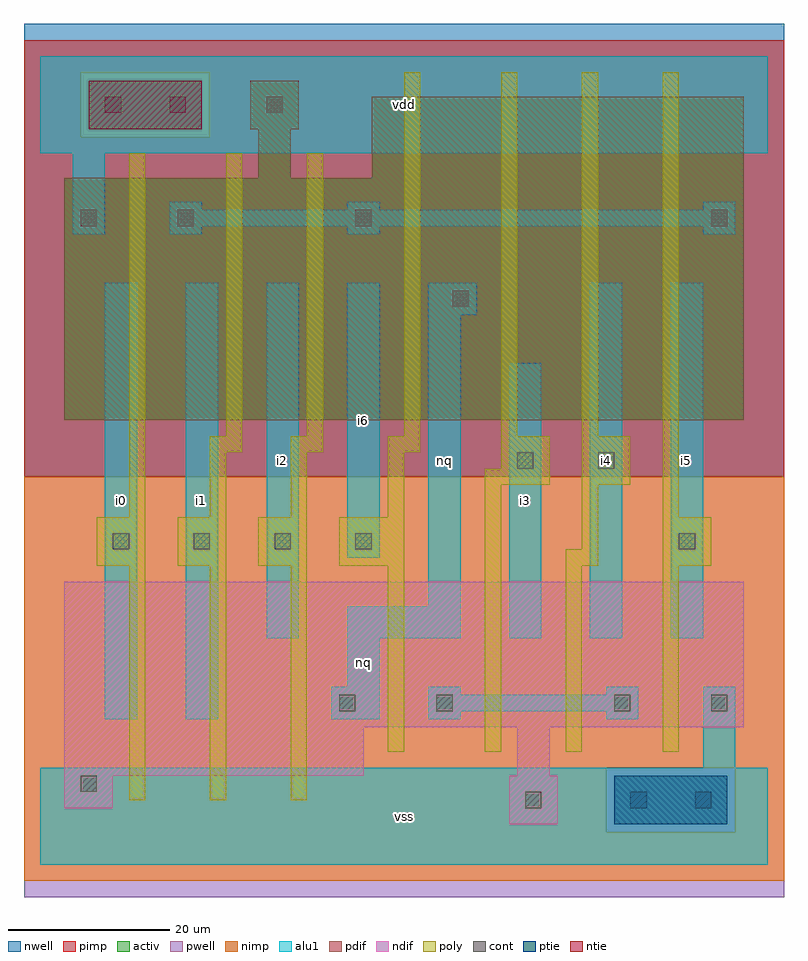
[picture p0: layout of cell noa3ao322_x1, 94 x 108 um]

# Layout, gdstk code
import gdstk
lib = gdstk.Library(unit=1e-6, precision=1e-09)
def R(c, l, rs):  # rectangles x0, y0, x1, y1
    for r in rs: c.add(gdstk.rectangle(r[:2], r[2:], *l))
def A(c, l, x, y, w, h, nx, ny, dx, dy):  # array of equal rectangles
    R(c, l, [(x+i*dx, y+j*dy, x+i*dx+w, y+j*dy+h) for i in range(nx) for j in range(ny)])
ndif = (3, 0)
pdif = (4, 0)
ntie = (5, 0)
ptie = (6, 0)
cont = (25, 0)
pwell = (41, 0)
nwell = (42, 0)
activ = (43, 0)
pimp = (44, 0)
nimp = (45, 0)
poly = (46, 0)
alu1 = (49, 0)

noa3ao322_x1 = lib.new_cell('noa3ao322_x1')
R(noa3ao322_x1, ndif, [(58,5,64,11), (3,7,9,11), (3,11,40,17), (59,11,63,17), (3,17,87,35)])
R(noa3ao322_x1, pdif, [(3,55,87,85), (27,85,31,91), (41,85,87,95), (26,91,32,97)])
R(noa3ao322_x1, ntie, [(6,91,20,97)])
R(noa3ao322_x1, ptie, [(71,5,85,11)])
A(noa3ao322_x1, cont, 9, 39, 2, 2, 4, 1, 10, 0)
R(noa3ao322_x1, cont, [(60,7,62,9), (73,7,75,9), (81,7,83,9), (5,9,7,11), (37,19,39,21), (49,19,51,21), (71,19,73,21), (83,19,85,21), (79,39,81,41), (59,49,61,51), (69,49,71,51), (51,69,53,71), (5,79,7,81), (17,79,19,81), (39,79,41,81), (83,79,85,81), (8,93,10,95), (16,93,18,95), (28,93,30,95)])
R(noa3ao322_x1, pwell, [(-2,-4,92,48)])
R(noa3ao322_x1, nwell, [(-2,48,92,104)])
R(noa3ao322_x1, activ, [(58,5,64,11), (71,5,85,11), (3,7,9,11), (3,11,40,17), (59,11,63,17), (3,17,87,35), (3,55,87,85), (27,85,31,91), (41,85,87,95), (6,91,20,97), (26,91,32,97)])
R(noa3ao322_x1, pimp, [(70,4,86,12), (-2,48,92,90), (-2,90,5,98), (21,90,92,98), (-2,98,92,102)])
R(noa3ao322_x1, nimp, [(-2,-2,92,4), (-2,4,70,12), (86,4,92,12), (-2,12,92,48), (5,90,21,98)])
A(noa3ao322_x1, poly, 11, 8, 2, 29, 3, 1, 10, 0)
A(noa3ao322_x1, poly, 7, 37, 6, 6, 3, 1, 10, 0)
R(noa3ao322_x1, poly, [(43,14,45,37), (55,14,57,47), (65,14,67,37), (77,14,79,37), (37,37,45,43), (65,37,69,39), (77,37,83,43), (67,39,69,47), (11,43,13,88), (21,43,23,51), (31,43,33,51), (43,43,45,51), (77,43,79,98), (55,47,63,49), (67,47,73,53), (57,49,63,53), (21,51,25,53), (31,51,35,53), (43,51,47,53), (23,53,25,88), (33,53,35,88), (45,53,47,98), (57,53,59,98), (67,53,69,98)])
R(noa3ao322_x1, alu1, [(0,0,90,12), (82,12,86,22), (8,18,12,72), (18,18,22,72), (36,18,42,22), (48,18,52,19), (70,18,74,19), (48,19,74,21), (48,21,52,22), (70,21,74,22), (38,22,42,28), (28,28,32,72), (38,28,52,32), (58,28,62,62), (68,28,72,72), (78,28,82,72), (48,32,52,68), (38,38,42,72), (48,68,54,72), (4,78,8,88), (16,78,20,79), (38,78,42,79), (82,78,86,79), (16,79,86,81), (16,81,20,82), (38,81,42,82), (82,81,86,82), (0,88,90,100)])
noa3ao322_x1.add(gdstk.Label('i0', (10,45), layer=49, texttype=0))
noa3ao322_x1.add(gdstk.Label('nq', (40,25), layer=49, texttype=0))
noa3ao322_x1.add(gdstk.Label('i1', (20,45), layer=49, texttype=0))
noa3ao322_x1.add(gdstk.Label('i2', (30,50), layer=49, texttype=0))
noa3ao322_x1.add(gdstk.Label('i6', (40,55), layer=49, texttype=0))
noa3ao322_x1.add(gdstk.Label('vss', (45,6), layer=49, texttype=0))
noa3ao322_x1.add(gdstk.Label('i3', (60,45), layer=49, texttype=0))
noa3ao322_x1.add(gdstk.Label('nq', (50,50), layer=49, texttype=0))
noa3ao322_x1.add(gdstk.Label('vdd', (45,94), layer=49, texttype=0))
noa3ao322_x1.add(gdstk.Label('i5', (80,50), layer=49, texttype=0))
noa3ao322_x1.add(gdstk.Label('i4', (70,50), layer=49, texttype=0))

lib.write_gds('noa3ao322_x1.gds')
